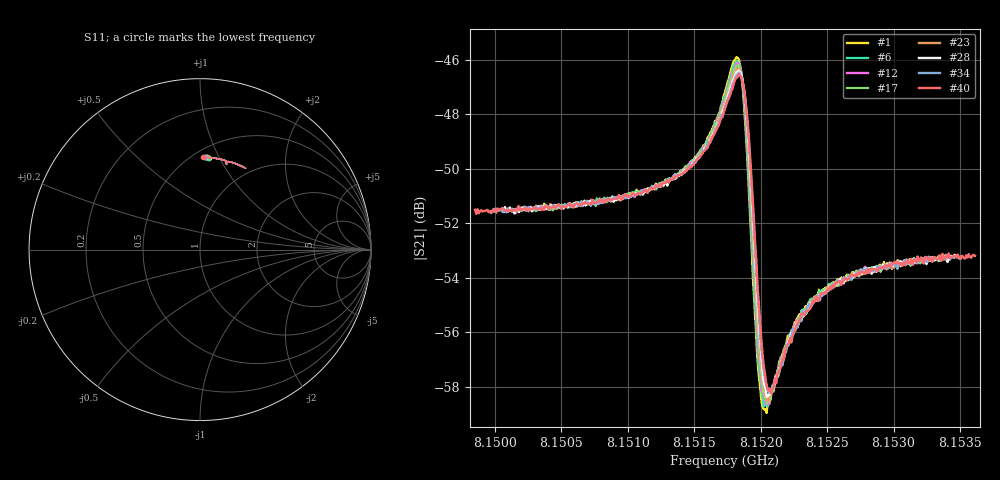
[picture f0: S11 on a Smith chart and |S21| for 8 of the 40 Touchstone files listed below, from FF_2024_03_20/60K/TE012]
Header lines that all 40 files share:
#  HZ  S  RI  R  50.00
! Rohde & Schwarz Vector Network Analyzer
! Rohde-Schwarz,ZNB20-2Port,1311601062101988,3.16
! freq[Hz]  re:S11  im:S11  re:S21  im:S21  re:S12  im:S12  re:S22  im:S22
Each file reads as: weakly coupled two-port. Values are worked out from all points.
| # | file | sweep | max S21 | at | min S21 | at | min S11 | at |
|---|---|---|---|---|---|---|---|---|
| 1 | 160_2_58.0005_58.9726982_40303.629_432.4116871356964_.s2p | 8.150284 GHz to 8.153206 GHz | -45.90 dB | 8.151818 GHz | -59.0 dB | 8.152045 GHz | -5.6 dB | 8.151862 GHz |
| 2 | 161_2_58.0003_58.9736977_40574.375_434.83185052871704_.s2p | 8.150277 GHz to 8.153213 GHz | -45.90 dB | 8.151826 GHz | -58.9 dB | 8.152031 GHz | -5.6 dB | 8.151862 GHz |
| 3 | 162_2_58.0001_58.9745522_40785.43_437.2433590888977_.s2p | 8.150315 GHz to 8.153184 GHz | -45.92 dB | 8.151821 GHz | -58.8 dB | 8.152036 GHz | -5.6 dB | 8.151864 GHz |
| 4 | 163_2_58.0_58.9751167_41607.527_445.3455021381378_.s2p | 8.150286 GHz to 8.153207 GHz | -45.96 dB | 8.151827 GHz | -58.8 dB | 8.152053 GHz | -5.6 dB | 8.151871 GHz |
| 5 | 164_2_58.0003_58.9757538_41859.234_447.7631096839905_.s2p | 8.150275 GHz to 8.153222 GHz | -46.00 dB | 8.151814 GHz | -58.7 dB | 8.152058 GHz | -5.6 dB | 8.151866 GHz |
| 6 | 165_2_58.0004_58.9755745_42100.113_450.1746220588684_.s2p | 8.150247 GHz to 8.153246 GHz | -46.04 dB | 8.151822 GHz | -58.7 dB | 8.152054 GHz | -5.6 dB | 8.151866 GHz |
| 7 | 166_2_58.0006_58.97649_42330.488_452.58916187286377_.s2p | 8.150209 GHz to 8.153278 GHz | -46.06 dB | 8.15182 GHz | -58.9 dB | 8.15205 GHz | -5.6 dB | 8.151874 GHz |
| 8 | 167_2_58.001_58.9782181_42581.395_455.0000412464142_.s2p | 8.150197 GHz to 8.15329 GHz | -46.07 dB | 8.151821 GHz | -58.8 dB | 8.152037 GHz | -5.6 dB | 8.151867 GHz |
| 9 | 168_2_58.0003_58.9773026_42812.035_457.396080493927_.s2p | 8.150189 GHz to 8.153297 GHz | -46.07 dB | 8.15182 GHz | -58.6 dB | 8.152054 GHz | -5.6 dB | 8.151875 GHz |
| 10 | 169_2_58.0008_58.9789467_43052.914_459.8366787433624_.s2p | 8.150228 GHz to 8.153267 GHz | -46.07 dB | 8.151823 GHz | -58.7 dB | 8.152044 GHz | -5.6 dB | 8.151869 GHz |
| 11 | 170_2_58.0001_58.9790306_43303.754_462.23442912101746_.s2p | 8.150185 GHz to 8.153304 GHz | -46.12 dB | 8.151822 GHz | -58.7 dB | 8.15204 GHz | -5.6 dB | 8.151869 GHz |
| 12 | 171_2_58.0001_58.977581_43554.418_464.6450185775757_.s2p | 8.150176 GHz to 8.153311 GHz | -46.10 dB | 8.15183 GHz | -58.6 dB | 8.152041 GHz | -5.6 dB | 8.151869 GHz |
| 13 | 172_2_58.001_58.9788513_43795.066_467.06690096855164_.s2p | 8.150193 GHz to 8.153298 GHz | -46.13 dB | 8.151823 GHz | -58.8 dB | 8.152033 GHz | -5.6 dB | 8.151877 GHz |
| 14 | 173_2_58.0002_58.9827576_44036.219_469.4893252849579_.s2p | 8.150133 GHz to 8.153348 GHz | -46.12 dB | 8.151829 GHz | -58.7 dB | 8.152054 GHz | -5.6 dB | 8.151877 GHz |
| 15 | 174_2_58.0_58.9823952_44286.914_471.89743852615356_.s2p | 8.150182 GHz to 8.153309 GHz | -46.17 dB | 8.151824 GHz | -58.5 dB | 8.152059 GHz | -5.6 dB | 8.151871 GHz |
| 16 | 175_2_58.0004_58.9827576_44507.375_474.35370898246765_.s2p | 8.150147 GHz to 8.153341 GHz | -46.16 dB | 8.151824 GHz | -58.7 dB | 8.152047 GHz | -5.6 dB | 8.151872 GHz |
| 17 | 176_2_57.9997_58.9818535_44758.43_476.78069972991943_.s2p | 8.150132 GHz to 8.153354 GHz | -46.17 dB | 8.151832 GHz | -58.6 dB | 8.152049 GHz | -5.6 dB | 8.15188 GHz |
| 18 | 177_2_58.0003_58.9830322_45019.012_479.176629781723_.s2p | 8.150146 GHz to 8.153343 GHz | -46.22 dB | 8.151832 GHz | -58.5 dB | 8.152056 GHz | -5.6 dB | 8.151872 GHz |
| 19 | 178_2_58.0001_58.9838524_45239.707_481.59006571769714_.s2p | 8.150113 GHz to 8.153373 GHz | -46.23 dB | 8.151832 GHz | -58.5 dB | 8.152053 GHz | -5.6 dB | 8.151873 GHz |
| 20 | 179_2_58.001_58.9853096_45480.246_484.0021696090698_.s2p | 8.150083 GHz to 8.153398 GHz | -46.22 dB | 8.151831 GHz | -58.5 dB | 8.152063 GHz | -5.6 dB | 8.151873 GHz |
| 21 | 180_2_58.0004_58.9844894_45721.445_486.41371273994446_.s2p | 8.150096 GHz to 8.153387 GHz | -46.29 dB | 8.151832 GHz | -58.4 dB | 8.152063 GHz | -5.6 dB | 8.151882 GHz |
| 22 | 181_2_58.0_58.9863968_45971.844_488.83441495895386_.s2p | 8.150062 GHz to 8.153418 GHz | -46.24 dB | 8.151824 GHz | -58.5 dB | 8.152051 GHz | -5.6 dB | 8.151883 GHz |
| 23 | 182_2_57.9999_58.9857597_46223.137_491.27900552749634_.s2p | 8.150078 GHz to 8.153406 GHz | -46.30 dB | 8.151833 GHz | -58.5 dB | 8.152058 GHz | -5.6 dB | 8.151875 GHz |
| 24 | 183_2_57.9994_58.9858513_46454.082_493.6795423030853_.s2p | 8.150049 GHz to 8.153431 GHz | -46.28 dB | 8.151833 GHz | -58.4 dB | 8.152061 GHz | -5.6 dB | 8.151875 GHz |
| 25 | 184_2_57.999_58.9873085_46694.703_496.1244180202484_.s2p | 8.15008 GHz to 8.153405 GHz | -46.33 dB | 8.151826 GHz | -58.5 dB | 8.152075 GHz | -5.6 dB | 8.151876 GHz |
| 26 | 185_2_58.0005_58.9925308_47527.875_504.48957347869873_.s2p | 8.150033 GHz to 8.153446 GHz | -46.37 dB | 8.151833 GHz | -58.5 dB | 8.152047 GHz | -5.6 dB | 8.151885 GHz |
| 27 | 186_2_58.0006_58.9907112_47808.016_506.90261030197144_.s2p | 8.15001 GHz to 8.153468 GHz | -46.40 dB | 8.151843 GHz | -58.3 dB | 8.152059 GHz | -5.6 dB | 8.151877 GHz |
| 28 | 187_2_58.0003_58.9941673_48049.16_509.3136444091797_.s2p | 8.149981 GHz to 8.153494 GHz | -46.38 dB | 8.151834 GHz | -58.4 dB | 8.152045 GHz | -5.6 dB | 8.151878 GHz |
| 29 | 188_2_58.0003_58.9952621_48289.707_511.72727966308594_.s2p | 8.149969 GHz to 8.153505 GHz | -46.42 dB | 8.151834 GHz | -58.4 dB | 8.152073 GHz | -5.6 dB | 8.151887 GHz |
| 30 | 189_2_58.0003_58.9949837_48510.594_514.134762763977_.s2p | 8.149944 GHz to 8.153526 GHz | -46.43 dB | 8.151843 GHz | -58.4 dB | 8.152067 GHz | -5.6 dB | 8.151888 GHz |
| 31 | 190_2_58.0003_58.9954376_48771.469_516.5594267845154_.s2p | 8.149957 GHz to 8.153517 GHz | -46.42 dB | 8.151835 GHz | -58.4 dB | 8.152066 GHz | -5.6 dB | 8.15188 GHz |
| 32 | 191_2_58.0005_58.9931679_49032.27_519.150178194046_.s2p | 8.149951 GHz to 8.153523 GHz | -46.45 dB | 8.151826 GHz | -58.4 dB | 8.152058 GHz | -5.6 dB | 8.151889 GHz |
| 33 | 192_2_58.0007_58.9963455_49252.703_521.5806286334991_.s2p | 8.149914 GHz to 8.153554 GHz | -46.44 dB | 8.151834 GHz | -58.3 dB | 8.15208 GHz | -5.6 dB | 8.151889 GHz |
| 34 | 193_2_57.9999_58.9981689_49533.586_524.1019349098206_.s2p | 8.149973 GHz to 8.153507 GHz | -46.47 dB | 8.151837 GHz | -58.2 dB | 8.152075 GHz | -5.6 dB | 8.151881 GHz |
| 35 | 194_2_58.0002_58.9975319_49754.516_526.5167419910431_.s2p | 8.149908 GHz to 8.153561 GHz | -46.49 dB | 8.151826 GHz | -58.3 dB | 8.152045 GHz | -5.6 dB | 8.151881 GHz |
| 36 | 195_2_58.0001_58.9975319_49995.012_528.9389884471893_.s2p | 8.149887 GHz to 8.15358 GHz | -46.50 dB | 8.151835 GHz | -58.3 dB | 8.152066 GHz | -5.6 dB | 8.15189 GHz |
| 37 | 196_2_57.9996_59.0004425_50235.793_531.3616456985474_.s2p | 8.149921 GHz to 8.153552 GHz | -46.48 dB | 8.151836 GHz | -58.3 dB | 8.152063 GHz | -5.6 dB | 8.151891 GHz |
| 38 | 197_2_57.9999_58.9991684_50476.242_533.7841365337372_.s2p | 8.149909 GHz to 8.153564 GHz | -46.53 dB | 8.151846 GHz | -58.2 dB | 8.152075 GHz | -5.6 dB | 8.151883 GHz |
| 39 | 198_2_58.0004_58.9991684_50718.059_536.2046082019806_.s2p | 8.149867 GHz to 8.153599 GHz | -46.57 dB | 8.151845 GHz | -58.3 dB | 8.152069 GHz | -5.6 dB | 8.151892 GHz |
| 40 | 199_2_57.9998_59.0038147_50958.738_538.618460893631_.s2p | 8.149851 GHz to 8.153613 GHz | -46.52 dB | 8.151836 GHz | -58.3 dB | 8.15208 GHz | -5.6 dB | 8.151883 GHz |
